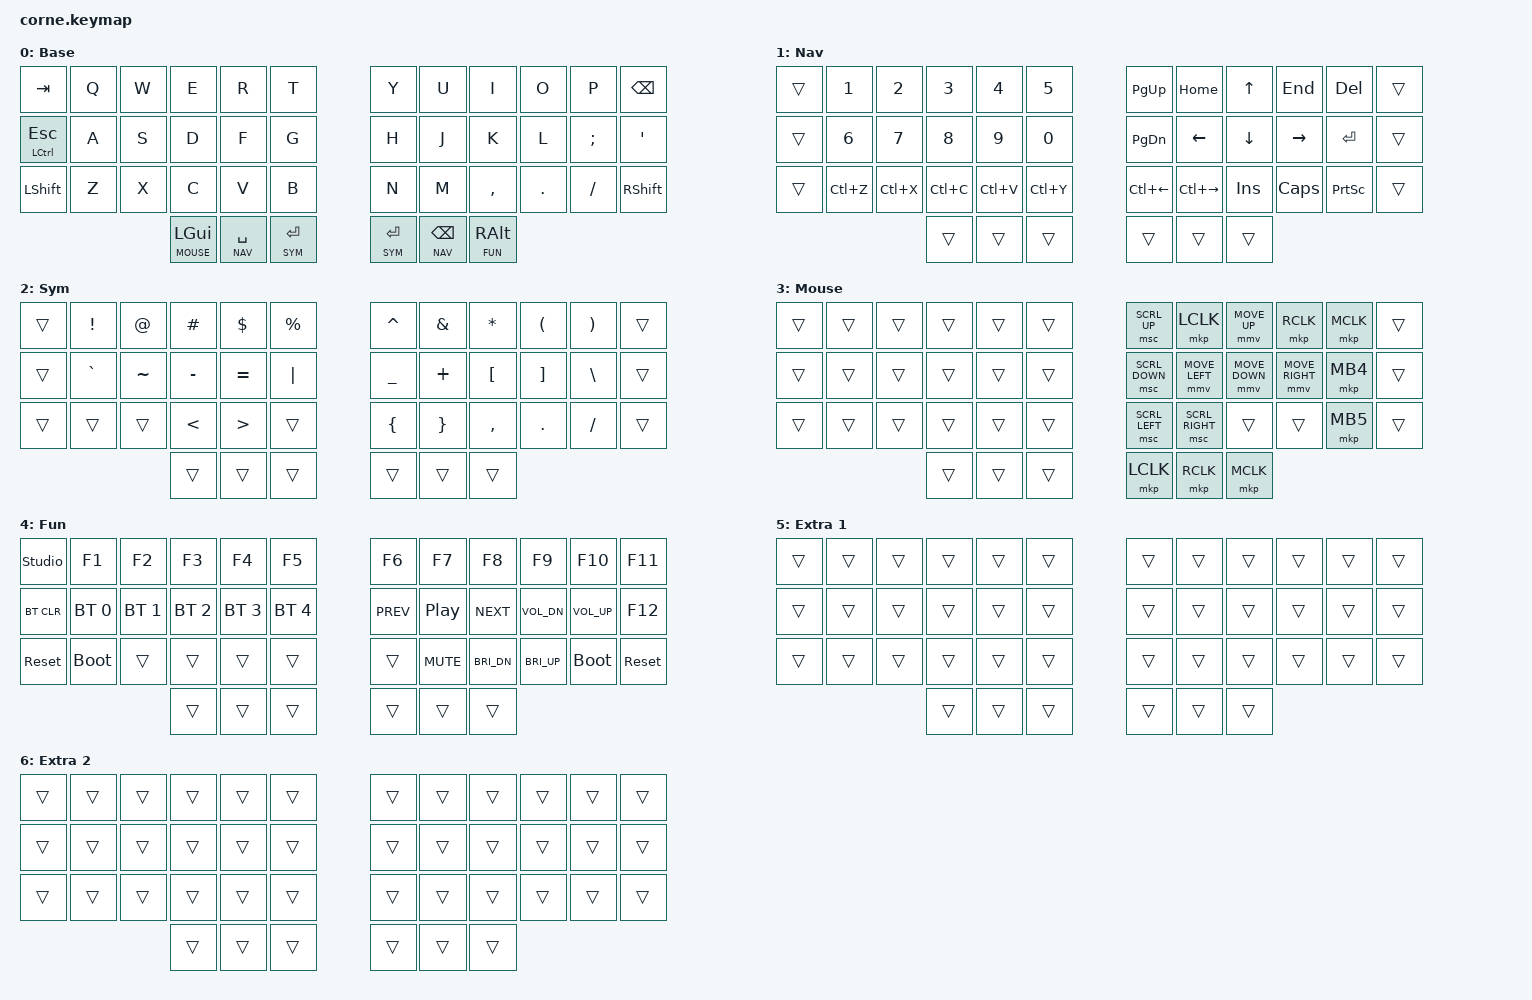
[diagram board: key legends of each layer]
#include <behaviors.dtsi>
#include <dt-bindings/zmk/keys.h>
#include <dt-bindings/zmk/bt.h>
#include <dt-bindings/zmk/pointing.h>

#define BASE 0
#define NAV  1
#define SYM  2
#define MOUSE 3
#define FUN  4

/ {
    keymap {
        compatible = "zmk,keymap";

        base_layer {
            display-name = "Base";
            bindings = <
   &kp TAB        &kp Q &kp W &kp E &kp R &kp T   &kp Y &kp U &kp I     &kp O   &kp P    &kp BSPC
   &mt LCTRL ESC  &kp A &kp S &kp D &kp F &kp G   &kp H &kp J &kp K     &kp L   &kp SEMI &kp SQT
   &kp LSHFT      &kp Z &kp X &kp C &kp V &kp B   &kp N &kp M &kp COMMA &kp DOT &kp FSLH &kp RSHFT
             &lt MOUSE LGUI &lt NAV SPACE &lt SYM RET   &lt SYM RET &lt NAV BSPC &lt FUN RALT
            >;
        };

        nav_layer {
            display-name = "Nav";
            bindings = <
   &trans &kp N1 &kp N2 &kp N3 &kp N4 &kp N5   &kp PG_UP &kp HOME &kp UP   &kp END   &kp DEL  &trans
   &trans &kp N6 &kp N7 &kp N8 &kp N9 &kp N0   &kp PG_DN &kp LEFT &kp DOWN &kp RIGHT &kp RET  &trans
   &trans &kp LC(Z) &kp LC(X) &kp LC(C) &kp LC(V) &kp LC(Y)   &kp LC(LEFT) &kp LC(RIGHT) &kp INS &kp CAPS &kp PSCRN &trans
                              &trans &trans &trans   &trans &trans &trans
            >;
        };

        sym_layer {
            display-name = "Sym";
            bindings = <
   &trans &kp EXCL &kp AT   &kp HASH &kp DLLR &kp PRCNT   &kp CARET &kp AMPS  &kp STAR &kp LPAR &kp RPAR &trans
   &trans &kp GRAVE &kp TILDE &kp MINUS &kp EQUAL &kp PIPE   &kp UNDER &kp PLUS  &kp LBKT &kp RBKT &kp BSLH &trans
   &trans &trans   &trans   &kp LT   &kp GT   &trans      &kp LBRC  &kp RBRC  &kp COMMA &kp DOT &kp FSLH &trans
                              &trans &trans &trans   &trans &trans &trans
            >;
        };

        mouse_layer {
            display-name = "Mouse";
            bindings = <
   &trans &trans &trans &trans &trans &trans   &msc SCRL_UP   &mkp LCLK &mmv MOVE_UP   &mkp RCLK  &mkp MCLK &trans
   &trans &trans &trans &trans &trans &trans   &msc SCRL_DOWN &mmv MOVE_LEFT &mmv MOVE_DOWN &mmv MOVE_RIGHT &mkp MB4 &trans
   &trans &trans &trans &trans &trans &trans   &msc SCRL_LEFT &msc SCRL_RIGHT &trans &trans &mkp MB5 &trans
                              &trans &trans &trans   &mkp LCLK &mkp RCLK &mkp MCLK
            >;
        };

        fun_layer {
            display-name = "Fun";
            bindings = <
   &studio_unlock &kp F1 &kp F2  &kp F3  &kp F4  &kp F5    &kp F6 &kp F7 &kp F8 &kp F9 &kp F10 &kp F11
   &bt BT_CLR     &bt BT_SEL 0 &bt BT_SEL 1 &bt BT_SEL 2 &bt BT_SEL 3 &bt BT_SEL 4   &kp C_PREV &kp C_PP &kp C_NEXT &kp C_VOL_DN &kp C_VOL_UP &kp F12
   &sys_reset     &bootloader &trans &trans &trans &trans    &trans &kp C_MUTE &kp C_BRI_DN &kp C_BRI_UP &bootloader &sys_reset
                              &trans &trans &trans   &trans &trans &trans
            >;
        };

        extra1 { display-name = "Extra 1"; bindings = <
   &trans &trans &trans &trans &trans &trans   &trans &trans &trans &trans &trans &trans
   &trans &trans &trans &trans &trans &trans   &trans &trans &trans &trans &trans &trans
   &trans &trans &trans &trans &trans &trans   &trans &trans &trans &trans &trans &trans
                        &trans &trans &trans   &trans &trans &trans
            >; };

        extra2 { display-name = "Extra 2"; bindings = <
   &trans &trans &trans &trans &trans &trans   &trans &trans &trans &trans &trans &trans
   &trans &trans &trans &trans &trans &trans   &trans &trans &trans &trans &trans &trans
   &trans &trans &trans &trans &trans &trans   &trans &trans &trans &trans &trans &trans
                        &trans &trans &trans   &trans &trans &trans
            >; };
    };
};
